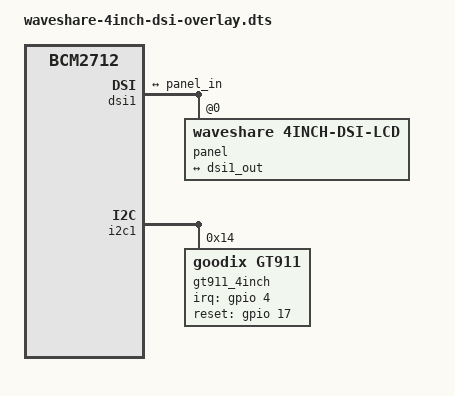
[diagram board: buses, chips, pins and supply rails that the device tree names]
// Raspberry Pi 5 - Waveshare DSI Display Overlays
// Device Tree Overlays for Waveshare MIPI DSI displays
// Copyright (C) 2025 The Android Open Source Project

/dts-v1/;
/plugin/;

// ============================================================================
// Waveshare 4" DSI Display (480x800)
// ============================================================================
/ {
    compatible = "brcm,bcm2712";
    
    fragment@0 {
        target = <&dsi1>;
        __overlay__ {
            status = "okay";
            #address-cells = <1>;
            #size-cells = <0>;
            
            port {
                dsi1_out: endpoint {
                    remote-endpoint = <&panel_in>;
                };
            };
            
            panel: panel@0 {
                compatible = "waveshare,4inch-dsi-lcd";
                reg = <0>;
                
                width-mm = <52>;
                height-mm = <86>;
                
                panel-timing {
                    clock-frequency = <25000000>;
                    hactive = <480>;
                    vactive = <800>;
                    hfront-porch = <50>;
                    hback-porch = <50>;
                    hsync-len = <10>;
                    vfront-porch = <10>;
                    vback-porch = <10>;
                    vsync-len = <10>;
                };
                
                port {
                    panel_in: endpoint {
                        remote-endpoint = <&dsi1_out>;
                    };
                };
            };
        };
    };
    
    fragment@1 {
        target = <&i2c1>;
        __overlay__ {
            status = "okay";
            #address-cells = <1>;
            #size-cells = <0>;
            
            gt911_4inch: gt911@14 {
                compatible = "goodix,gt911";
                reg = <0x14>;
                interrupt-parent = <&gpio>;
                interrupts = <4 2>;  // GPIO4, falling edge
                irq-gpios = <&gpio 4 0>;
                reset-gpios = <&gpio 17 0>;
                touchscreen-size-x = <480>;
                touchscreen-size-y = <800>;
                touchscreen-swapped-x-y;
            };
        };
    };
};
